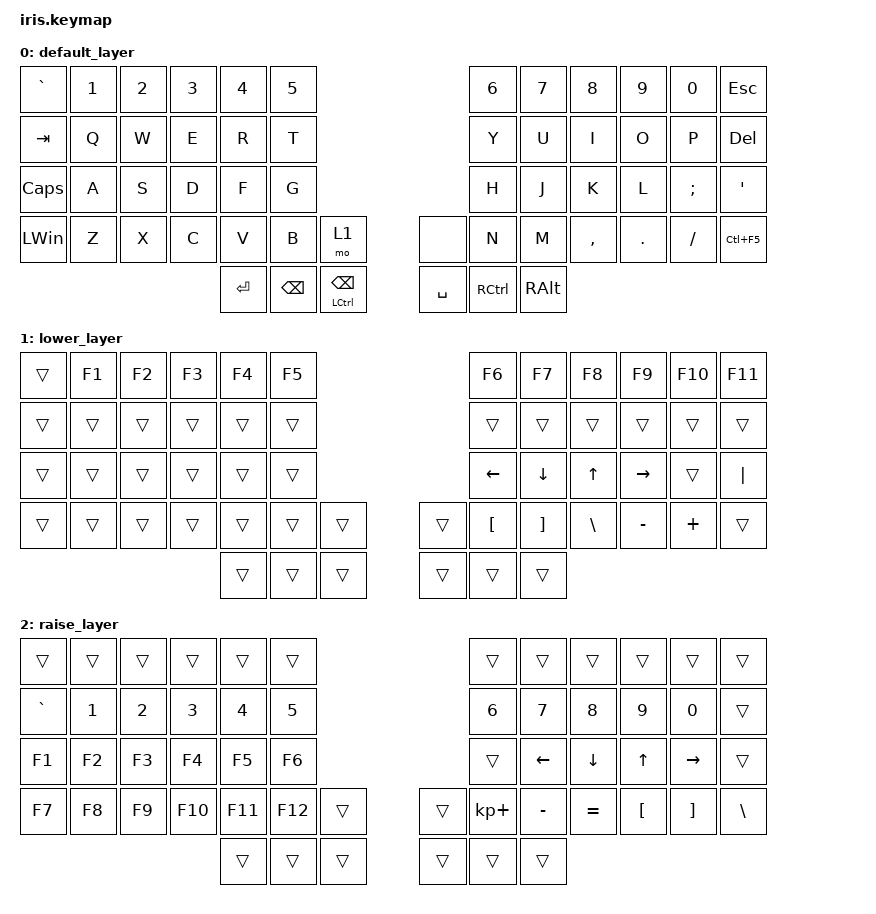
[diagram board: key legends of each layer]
/*
 * Copyright (c) 2020 The ZMK Contributors
 *
 * SPDX-License-Identifier: MIT
 */

#include <behaviors.dtsi>
#include <dt-bindings/zmk/keys.h>

/ {
    keymap {
        compatible = "zmk,keymap";

        default_layer {
            // ------------------------------------------------------------------------------------------------------------
            // |  ESC  |  1  |  2  |  3   |  4   |  5   |                   |  6   |  7    |  8    |  9   |   0   |   `   |
            // |  TAB  |  Q  |  W  |  E   |  R   |  T   |                   |  Y   |  U    |  I    |  O   |   P   |   -   |
            // |  CTRL |  A  |  S  |  D   |  F   |  G   |                   |  H   |  J    |  K    |  L   |   ;   |   '   |
            // | SHIFT |  Z  |  X  |  C   |  V   |  B   |   "["  |  |  "]"  |  N   |  M    |  ,    |  .   |   /   | SHIFT |
            //                            | GUI  | LOWER|  SPACE |  | ENTER | RAISE|  ALT  |

            bindings = <
&kp GRAVE     &kp N1  &kp N2  &kp N3  &kp N4     &kp N5                                         &kp N6     &kp N7    &kp N8     &kp N9   &kp N0    &kp ESCAPE
&kp TAB       &kp Q   &kp W   &kp E   &kp R      &kp T                                          &kp Y      &kp U     &kp I      &kp O    &kp P     &kp DELETE
&kp CAPSLOCK  &kp A   &kp S   &kp D   &kp F      &kp G                                          &kp H      &kp J     &kp K      &kp L    &kp SEMI  &kp SQT
&kp LWIN      &kp Z   &kp X   &kp C   &kp V      &kp B          &mo 1                &none      &kp N      &kp M     &kp COMMA  &kp DOT  &kp FSLH  &kp LC(F5)
                                      &kp ENTER  &kp BACKSPACE  &mt LCTRL BACKSPACE  &kp SPACE  &kp RCTRL  &kp RALT
            >;
        };

        lower_layer {
            // ------------------------------------------------------------------------------------------------------------
            // | BTCLR | BT1 | BT2 |  BT3 |  BT4 |  BT5 |                   |      |       |       |      |       |       |
            // |  F1   |  F2 |  F3 |  F4  |  F5  |  F6  |                   |  F7  |  F8   |  F9   |  F10 |  F11  |  F12  |
            // |   `   |  !  |  @  |  #   |  $   |  %   |                   |  ^   |  &    |  *    |  (   |   )   |   ~   |
            // |       |     |     |      |      |      |        |  |       |      |  _    |  +    |  {   |   }   |  "|"  |
            //                            |      |      |        |  |       |      |       |

            bindings = <
&trans  &kp F1  &kp F2  &kp F3  &kp F4  &kp F5                  &kp F6    &kp F7          &kp F8         &kp F9           &kp F10   &kp F11
&trans  &trans  &trans  &trans  &trans  &trans                  &trans    &trans          &trans         &trans           &trans    &trans
&trans  &trans  &trans  &trans  &trans  &trans                  &kp LEFT  &kp DOWN_ARROW  &kp UP_ARROW   &kp RIGHT_ARROW  &trans    &kp PIPE
&trans  &trans  &trans  &trans  &trans  &trans  &trans  &trans  &kp LBKT  &kp RBKT        &kp BACKSLASH  &kp MINUS        &kp PLUS  &trans
                                &trans  &trans  &trans  &trans  &trans    &trans
            >;
        };

        raise_layer {
            // ------------------------------------------------------------------------------------------------------------
            // |       |     |     |      |      |      |                   |      |       |       |      |       |       |
            // |   `   |  1  |  2  |  3   |  4   |  5   |                   |  6   |   7   |   8   |  9   |   0   |       |
            // |   F1  |  F2 |  F3 |  F4  |  F5  |  F6  |                   |      |   <-  |   ^   |  v   |  ->   |       |
            // |   F7  |  F8 |  F9 |  F10 |  F11 |  F12 |        |  |       |  +   |   -   |   =   |  [   |   ]   |   \   |
            //                            |      |      |        |  |       |      |       |

            bindings = <
&trans     &trans  &trans  &trans   &trans   &trans                   &trans       &trans     &trans     &trans    &trans     &trans
&kp GRAVE  &kp N1  &kp N2  &kp N3   &kp N4   &kp N5                   &kp N6       &kp N7     &kp N8     &kp N9    &kp N0     &trans
&kp F1     &kp F2  &kp F3  &kp F4   &kp F5   &kp F6                   &trans       &kp LEFT   &kp DOWN   &kp UP    &kp RIGHT  &trans
&kp F7     &kp F8  &kp F9  &kp F10  &kp F11  &kp F12  &trans  &trans  &kp KP_PLUS  &kp MINUS  &kp EQUAL  &kp LBKT  &kp RBKT   &kp BSLH
                                    &trans   &trans   &trans  &trans  &trans       &trans
            >;
        };
    };
};
